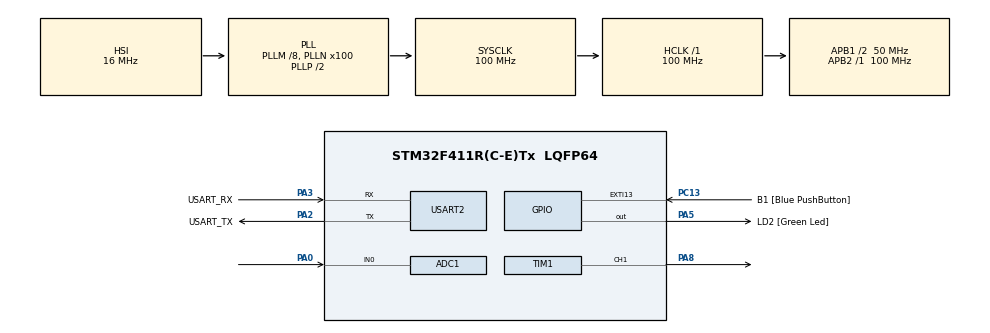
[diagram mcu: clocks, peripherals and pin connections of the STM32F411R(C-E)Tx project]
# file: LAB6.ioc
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ADC1.Channel-0\#ChannelRegularConversion=ADC_CHANNEL_0
ADC1.ExternalTrigConv=ADC_EXTERNALTRIGCONV_T3_TRGO
ADC1.InjNumberOfConversion=0
ADC1.NbrOfConversionFlag=1
ADC1.Rank-0\#ChannelRegularConversion=1
ADC1.SamplingTime-0\#ChannelRegularConversion=ADC_SAMPLETIME_480CYCLES
ADC1.master=1
Mcu.Family=STM32F4
Mcu.Name=STM32F411R(C-E)Tx
Mcu.Package=LQFP64
NVIC.ADC_IRQn=true\:0\:0\:false\:false\:true\:true\:true
NVIC.PriorityGroup=NVIC_PRIORITYGROUP_0
NVIC.TIM1_TRG_COM_TIM11_IRQn=true\:0\:0\:false\:false\:true\:true\:true
PA0-WKUP.Signal=ADCx_IN0
PA13.GPIO_Label=TMS
PA13.Mode=Serial_Wire
PA13.Signal=SYS_JTMS-SWDIO
PA14.GPIO_Label=TCK
PA14.Mode=Serial_Wire
PA14.Signal=SYS_JTCK-SWCLK
PA2.GPIO_Label=USART_TX
PA2.Mode=Asynchronous
PA2.Signal=USART2_TX
PA3.GPIO_Label=USART_RX
PA3.Mode=Asynchronous
PA3.Signal=USART2_RX
PA5.GPIO_Label=LD2 [Green Led]
PA5.Signal=GPIO_Output
PA8.Signal=S_TIM1_CH1
PB3.GPIO_Label=SWO
PB3.Signal=SYS_JTDO-SWO
PC13-ANTI_TAMP.GPIO_Label=B1 [Blue PushButton]
PC13-ANTI_TAMP.GPIO_ModeDefaultEXTI=GPIO_MODE_IT_FALLING
PC13-ANTI_TAMP.Signal=GPXTI13
PC14-OSC32_IN.Mode=LSE-External-Oscillator
PC14-OSC32_IN.Signal=RCC_OSC32_IN
PC15-OSC32_OUT.Mode=LSE-External-Oscillator
PC15-OSC32_OUT.Signal=RCC_OSC32_OUT
PH0\ -\ OSC_IN.Mode=HSE-External-Clock-Source
PH0\ -\ OSC_IN.Signal=RCC_OSC_IN
PH1\ -\ OSC_OUT.Mode=HSE-External-Clock-Source
PH1\ -\ OSC_OUT.Signal=RCC_OSC_OUT
ProjectManager.HeapSize=0x200
ProjectManager.StackSize=0x400
ProjectManager.TargetToolchain=STM32CubeIDE
RCC.48MHZClocksFreq_Value=50000000
RCC.AHBFreq_Value=100000000
RCC.APB1CLKDivider=RCC_HCLK_DIV2
RCC.APB1Freq_Value=50000000
RCC.APB1TimFreq_Value=100000000
RCC.APB2Freq_Value=100000000
RCC.APB2TimFreq_Value=100000000
RCC.CortexFreq_Value=100000000
RCC.FLatency-AdvancedSettings=FLASH_LATENCY_3
RCC.HCLKFreq_Value=100000000
RCC.HSE_VALUE=8000000
RCC.HSI_VALUE=16000000
RCC.PLLM=8
RCC.PLLN=100
RCC.SYSCLKFreq_VALUE=100000000
RCC.SYSCLKSource=RCC_SYSCLKSOURCE_PLLCLK
RCC.VCOOutputFreq_Value=200000000
SH.ADCx_IN0.0=ADC1_IN0,IN0
SH.S_TIM1_CH1.0=TIM1_CH1,PWM Generation1 CH1
TIM1.Channel-PWM\ Generation1\ CH1=TIM_CHANNEL_1
TIM1.Period=10000
TIM11.Prescaler=99
TIM3.Period=10000
TIM3.Prescaler=99
TIM3.TIM_MasterOutputTrigger=TIM_TRGO_UPDATE
USART2.VirtualMode=VM_ASYNC
VP_TIM11_VS_ClockSourceINT.Mode=Enable_Timer
VP_TIM1_VS_ClockSourceINT.Mode=Internal
VP_TIM3_VS_ClockSourceINT.Mode=Internal
board=NUCLEO-F411RE

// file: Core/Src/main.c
/* USER CODE BEGIN Header */
/**
 ******************************************************************************
 * @file           : main.c
 * @brief          : Main program body
 ******************************************************************************
 * @attention
 *
 * <h2><center>&copy; Copyright (c) 2021 STMicroelectronics.
 * All rights reserved.</center></h2>
 *
 * This software component is licensed by ST under BSD 3-Clause license,
 * the "License"; You may not use this file except in compliance with the
 * License. You may obtain a copy of the License at:
 *                        opensource.org/licenses/BSD-3-Clause
 *
 ******************************************************************************
 */
/* USER CODE END Header */
#include "main.h"

ADC_HandleTypeDef hadc1;

TIM_HandleTypeDef htim1;
TIM_HandleTypeDef htim3;
TIM_HandleTypeDef htim11;

UART_HandleTypeDef huart2;

/* USER CODE BEGIN PV */

uint8_t ADCUpdateFlag = 0;
//Store ADC Value --> เก็บค่าที่กลับมาจาก ADC
uint16_t ADCFeedBack = 0;

uint16_t PWMOut = 3000;
float Vout = 0;

uint64_t _micro = 0; // save micro time
uint64_t TimeOutputLoop = 0;
/* USER CODE END PV */

void SystemClock_Config(void);
static void MX_GPIO_Init(void);
static void MX_USART2_UART_Init(void);
static void MX_ADC1_Init(void);
static void MX_TIM1_Init(void);
static void MX_TIM11_Init(void);
static void MX_TIM3_Init(void);
/* USER CODE BEGIN PFP */
uint64_t micros();
/* USER CODE END PFP */

int main(void)
{

  /* MCU Configuration--------------------------------------------------------*/

  /* Reset of all peripherals, Initializes the Flash interface and the Systick. */
  HAL_Init();

  /* Configure the system clock */
  SystemClock_Config();

  /* Initialize all configured peripherals */
  MX_GPIO_Init();
  MX_USART2_UART_Init();
  MX_ADC1_Init();
  MX_TIM1_Init();
  MX_TIM11_Init();
  MX_TIM3_Init();
  /* USER CODE BEGIN 2 */
	//ADC START
	HAL_ADC_Start_IT(&hadc1);  //เปิด ADC โดยการเปิด interrupt
	HAL_TIM_Base_Start(&htim3); //ใช้ TIM3 สั่ง ADC ทำงาน
	// start pwm
	HAL_TIM_Base_Start(&htim1);
	HAL_TIM_PWM_Start(&htim1, TIM_CHANNEL_1);//ตัวจ่าย Output compare value
	// start micros
	HAL_TIM_Base_Start_IT(&htim11);

  /* USER CODE END 2 */

  /* Infinite loop */
	while (1)
	{

    /* USER CODE BEGIN 3 */

		//1 Khz Loop
		if (micros() - TimeOutputLoop >= 1000)//uS
		{
			TimeOutputLoop = micros();
			// #001

			__HAL_TIM_SET_COMPARE(&htim1, TIM_CHANNEL_1, PWMOut); //คำสั่งคล้ายฟังก์ชัน แต่จะเร็วกว่า สั่งให้เซ็ต compare timer1
			Vout = PWMOut * 3.3 * ADCFeedBack/(4096*htim1.Init.Period);
			if (Vout < 1)
			{
				PWMOut = (4096*htim1.Init.Period)/(ADCFeedBack * 3.3);
			}
			else if (Vout > 1)
			{
				PWMOut = (4096*htim1.Init.Period)/(ADCFeedBack * 3.3);
			}
		}

		if (ADCUpdateFlag)
		{
			ADCUpdateFlag = 0;
			//#002
		}

	}
  /* USER CODE END 3 */
}

void SystemClock_Config(void)
{
  RCC_OscInitTypeDef RCC_OscInitStruct = {0};
  RCC_ClkInitTypeDef RCC_ClkInitStruct = {0};

  /** Configure the main internal regulator output voltage
  */
  __HAL_RCC_PWR_CLK_ENABLE();
  __HAL_PWR_VOLTAGESCALING_CONFIG(PWR_REGULATOR_VOLTAGE_SCALE1);
  /** Initializes the RCC Oscillators according to the specified parameters
  * in the RCC_OscInitTypeDef structure.
  */
  RCC_OscInitStruct.OscillatorType = RCC_OSCILLATORTYPE_HSI;
  RCC_OscInitStruct.HSIState = RCC_HSI_ON;
  RCC_OscInitStruct.HSICalibrationValue = RCC_HSICALIBRATION_DEFAULT;
  RCC_OscInitStruct.PLL.PLLState = RCC_PLL_ON;
  RCC_OscInitStruct.PLL.PLLSource = RCC_PLLSOURCE_HSI;
  RCC_OscInitStruct.PLL.PLLM = 8;
  RCC_OscInitStruct.PLL.PLLN = 100;
  RCC_OscInitStruct.PLL.PLLP = RCC_PLLP_DIV2;
  RCC_OscInitStruct.PLL.PLLQ = 4;
  if (HAL_RCC_OscConfig(&RCC_OscInitStruct) != HAL_OK)
  {
    Error_Handler();
  }
  /** Initializes the CPU, AHB and APB buses clocks
  */
  RCC_ClkInitStruct.ClockType = RCC_CLOCKTYPE_HCLK|RCC_CLOCKTYPE_SYSCLK
                              |RCC_CLOCKTYPE_PCLK1|RCC_CLOCKTYPE_PCLK2;
  RCC_ClkInitStruct.SYSCLKSource = RCC_SYSCLKSOURCE_PLLCLK;
  RCC_ClkInitStruct.AHBCLKDivider = RCC_SYSCLK_DIV1;
  RCC_ClkInitStruct.APB1CLKDivider = RCC_HCLK_DIV2;
  RCC_ClkInitStruct.APB2CLKDivider = RCC_HCLK_DIV1;

  if (HAL_RCC_ClockConfig(&RCC_ClkInitStruct, FLASH_LATENCY_3) != HAL_OK)
  {
    Error_Handler();
  }
}

static void MX_ADC1_Init(void)
{

  ADC_ChannelConfTypeDef sConfig = {0};

  /** Configure the global features of the ADC (Clock, Resolution, Data Alignment and number of conversion)
  */
  hadc1.Instance = ADC1;
  hadc1.Init.ClockPrescaler = ADC_CLOCK_SYNC_PCLK_DIV4;
  hadc1.Init.Resolution = ADC_RESOLUTION_12B;
  hadc1.Init.ScanConvMode = DISABLE;
  hadc1.Init.ContinuousConvMode = DISABLE;
  hadc1.Init.DiscontinuousConvMode = DISABLE;
  hadc1.Init.ExternalTrigConvEdge = ADC_EXTERNALTRIGCONVEDGE_RISING;
  hadc1.Init.ExternalTrigConv = ADC_EXTERNALTRIGCONV_T3_TRGO;
  hadc1.Init.DataAlign = ADC_DATAALIGN_RIGHT;
  hadc1.Init.NbrOfConversion = 1;
  hadc1.Init.DMAContinuousRequests = DISABLE;
  hadc1.Init.EOCSelection = ADC_EOC_SINGLE_CONV;
  if (HAL_ADC_Init(&hadc1) != HAL_OK)
  {
    Error_Handler();
  }
  /** Configure for the selected ADC regular channel its corresponding rank in the sequencer and its sample time.
  */
  sConfig.Channel = ADC_CHANNEL_0;
  sConfig.Rank = 1;
  sConfig.SamplingTime = ADC_SAMPLETIME_56CYCLES;
  if (HAL_ADC_ConfigChannel(&hadc1, &sConfig) != HAL_OK)
  {
    Error_Handler();
  }

}

static void MX_TIM1_Init(void)
{

  TIM_ClockConfigTypeDef sClockSourceConfig = {0};
  TIM_MasterConfigTypeDef sMasterConfig = {0};
  TIM_OC_InitTypeDef sConfigOC = {0};
  TIM_BreakDeadTimeConfigTypeDef sBreakDeadTimeConfig = {0};

  htim1.Instance = TIM1;
  htim1.Init.Prescaler = 0;
  htim1.Init.CounterMode = TIM_COUNTERMODE_UP;
  htim1.Init.Period = 10000;
  htim1.Init.ClockDivision = TIM_CLOCKDIVISION_DIV1;
  htim1.Init.RepetitionCounter = 0;
  htim1.Init.AutoReloadPreload = TIM_AUTORELOAD_PRELOAD_ENABLE;
  if (HAL_TIM_Base_Init(&htim1) != HAL_OK)
  {
    Error_Handler();
  }
  sClockSourceConfig.ClockSource = TIM_CLOCKSOURCE_INTERNAL;
  if (HAL_TIM_ConfigClockSource(&htim1, &sClockSourceConfig) != HAL_OK)
  {
    Error_Handler();
  }
  if (HAL_TIM_PWM_Init(&htim1) != HAL_OK)
  {
    Error_Handler();
  }
  sMasterConfig.MasterOutputTrigger = TIM_TRGO_RESET;
  sMasterConfig.MasterSlaveMode = TIM_MASTERSLAVEMODE_DISABLE;
  if (HAL_TIMEx_MasterConfigSynchronization(&htim1, &sMasterConfig) != HAL_OK)
  {
    Error_Handler();
  }
  sConfigOC.OCMode = TIM_OCMODE_PWM1;
  sConfigOC.Pulse = 0;
  sConfigOC.OCPolarity = TIM_OCPOLARITY_HIGH;
  sConfigOC.OCNPolarity = TIM_OCNPOLARITY_HIGH;
  sConfigOC.OCFastMode = TIM_OCFAST_DISABLE;
  sConfigOC.OCIdleState = TIM_OCIDLESTATE_RESET;
  sConfigOC.OCNIdleState = TIM_OCNIDLESTATE_RESET;
  if (HAL_TIM_PWM_ConfigChannel(&htim1, &sConfigOC, TIM_CHANNEL_1) != HAL_OK)
  {
    Error_Handler();
  }
  sBreakDeadTimeConfig.OffStateRunMode = TIM_OSSR_DISABLE;
  sBreakDeadTimeConfig.OffStateIDLEMode = TIM_OSSI_DISABLE;
  sBreakDeadTimeConfig.LockLevel = TIM_LOCKLEVEL_OFF;
  sBreakDeadTimeConfig.DeadTime = 0;
  sBreakDeadTimeConfig.BreakState = TIM_BREAK_DISABLE;
  sBreakDeadTimeConfig.BreakPolarity = TIM_BREAKPOLARITY_HIGH;
  sBreakDeadTimeConfig.AutomaticOutput = TIM_AUTOMATICOUTPUT_DISABLE;
  if (HAL_TIMEx_ConfigBreakDeadTime(&htim1, &sBreakDeadTimeConfig) != HAL_OK)
  {
    Error_Handler();
  }
  HAL_TIM_MspPostInit(&htim1);

}

static void MX_TIM3_Init(void)
{

  TIM_ClockConfigTypeDef sClockSourceConfig = {0};
  TIM_MasterConfigTypeDef sMasterConfig = {0};

  htim3.Instance = TIM3;
  htim3.Init.Prescaler = 99;
  htim3.Init.CounterMode = TIM_COUNTERMODE_UP;
  htim3.Init.Period = 1000;
  htim3.Init.ClockDivision = TIM_CLOCKDIVISION_DIV1;
  htim3.Init.AutoReloadPreload = TIM_AUTORELOAD_PRELOAD_DISABLE;
  if (HAL_TIM_Base_Init(&htim3) != HAL_OK)
  {
    Error_Handler();
  }
  sClockSourceConfig.ClockSource = TIM_CLOCKSOURCE_INTERNAL;
  if (HAL_TIM_ConfigClockSource(&htim3, &sClockSourceConfig) != HAL_OK)
  {
    Error_Handler();
  }
  sMasterConfig.MasterOutputTrigger = TIM_TRGO_UPDATE;
  sMasterConfig.MasterSlaveMode = TIM_MASTERSLAVEMODE_DISABLE;
  if (HAL_TIMEx_MasterConfigSynchronization(&htim3, &sMasterConfig) != HAL_OK)
  {
    Error_Handler();
  }

}

static void MX_TIM11_Init(void)
{

  htim11.Instance = TIM11;
  htim11.Init.Prescaler = 99;
  htim11.Init.CounterMode = TIM_COUNTERMODE_UP;
  htim11.Init.Period = 65535;
  htim11.Init.ClockDivision = TIM_CLOCKDIVISION_DIV1;
  htim11.Init.AutoReloadPreload = TIM_AUTORELOAD_PRELOAD_DISABLE;
  if (HAL_TIM_Base_Init(&htim11) != HAL_OK)
  {
    Error_Handler();
  }

}

static void MX_USART2_UART_Init(void)
{

  huart2.Instance = USART2;
  huart2.Init.BaudRate = 115200;
  huart2.Init.WordLength = UART_WORDLENGTH_8B;
  huart2.Init.StopBits = UART_STOPBITS_1;
  huart2.Init.Parity = UART_PARITY_NONE;
  huart2.Init.Mode = UART_MODE_TX_RX;
  huart2.Init.HwFlowCtl = UART_HWCONTROL_NONE;
  huart2.Init.OverSampling = UART_OVERSAMPLING_16;
  if (HAL_UART_Init(&huart2) != HAL_OK)
  {
    Error_Handler();
  }

}

static void MX_GPIO_Init(void)
{
  GPIO_InitTypeDef GPIO_InitStruct = {0};

  /* GPIO Ports Clock Enable */
  __HAL_RCC_GPIOC_CLK_ENABLE();
  __HAL_RCC_GPIOH_CLK_ENABLE();
  __HAL_RCC_GPIOA_CLK_ENABLE();
  __HAL_RCC_GPIOB_CLK_ENABLE();

  /*Configure GPIO pin Output Level */
  HAL_GPIO_WritePin(LD2_GPIO_Port, LD2_Pin, GPIO_PIN_RESET);

  /*Configure GPIO pin : B1_Pin */
  GPIO_InitStruct.Pin = B1_Pin;
  GPIO_InitStruct.Mode = GPIO_MODE_IT_FALLING;
  GPIO_InitStruct.Pull = GPIO_NOPULL;
  HAL_GPIO_Init(B1_GPIO_Port, &GPIO_InitStruct);

  /*Configure GPIO pin : LD2_Pin */
  GPIO_InitStruct.Pin = LD2_Pin;
  GPIO_InitStruct.Mode = GPIO_MODE_OUTPUT_PP;
  GPIO_InitStruct.Pull = GPIO_NOPULL;
  GPIO_InitStruct.Speed = GPIO_SPEED_FREQ_LOW;
  HAL_GPIO_Init(LD2_GPIO_Port, &GPIO_InitStruct);

}

/* USER CODE BEGIN 4 */

void HAL_ADC_ConvCpltCallback(ADC_HandleTypeDef *hadc) //เพื่อให้ ADC callback
{
	ADCFeedBack = HAL_ADC_GetValue(&hadc1);  // เก็บค่า ADC ที่อ่านได้
	ADCUpdateFlag = 1;
}
void HAL_TIM_PeriodElapsedCallback(TIM_HandleTypeDef *htim)
{
	if (htim == &htim11) //เช็คว่า timer ที่ overflow คือ timer 11 หรือไม่
	{
		_micro += 65535;
	}
}

__inline__ uint64_t micros()
{
	return _micro + htim11.Instance->CNT; //ได้เวลาปัจจุบัน
}
/* USER CODE END 4 */

void Error_Handler(void)
{
	__disable_irq();
	while (1)
	{
	}
}

/************************ (C) COPYRIGHT STMicroelectronics *****END OF FILE****/
